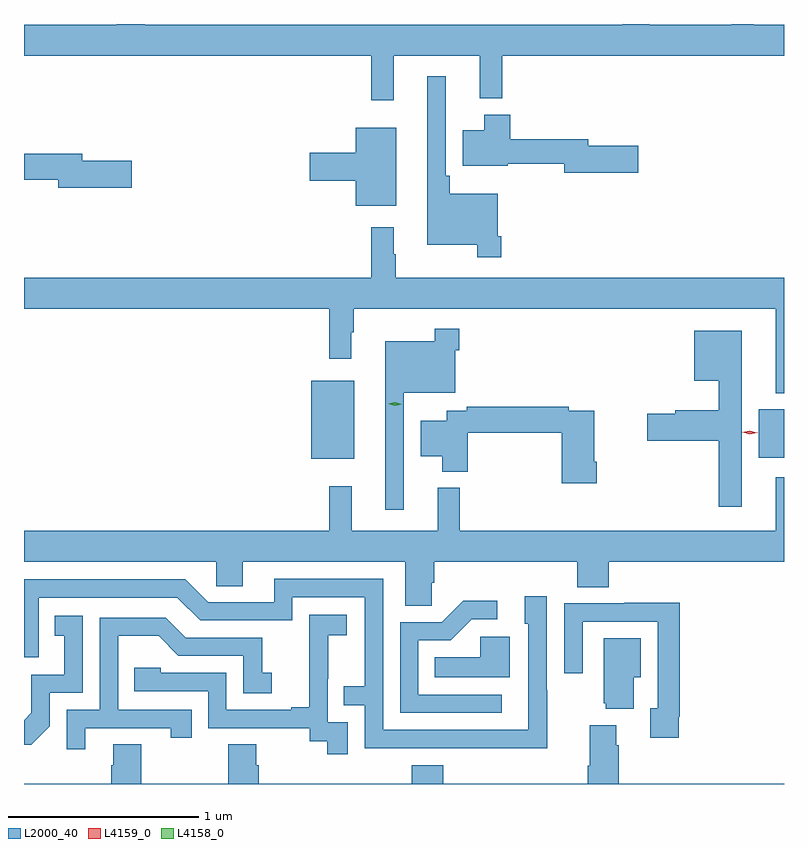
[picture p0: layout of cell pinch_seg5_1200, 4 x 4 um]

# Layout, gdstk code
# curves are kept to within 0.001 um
import gdstk
lib = gdstk.Library(unit=1e-6, precision=1e-09)
def R(c, l, rs):  # rectangles x0, y0, x1, y1
    for r in rs: c.add(gdstk.rectangle(r[:2], r[2:], *l))
def P(c, l, *ps):  # polygons
    for p in ps: c.add(gdstk.Polygon(p, *l))
L2000_40 = (2000, 40)
L4158_0 = (4158, 0)
L4159_0 = (4159, 0)

pinch_seg5_1200 = lib.new_cell('pinch_seg5_1200')
R(pinch_seg5_1200, L2000_40, [(481.028,883.943,481.255,884.353), (483.383,883.949,483.517,884.203)])
P(pinch_seg5_1200, L2000_40, [(481.463,886.064),(481.916,886.064),(481.916,885.839),(482.033,885.839),(482.033,886.064),(483.517,886.064),(483.517,886.228),(483.359,886.228),(483.359,886.231),(483.243,886.231),(483.243,886.228),(482.809,886.228),(482.809,886.231),(482.669,886.231),(482.669,886.228),(480.153,886.228),(480.153,886.231),(480.005,886.231),(480.005,886.228),(479.517,886.228),(479.517,886.064),(481.345,886.064),(481.345,885.831),(481.463,885.831)],
  [(482.03,885.115),(482.01,885.115),(482.01,885.337),(481.757,885.337),(481.757,885.433),(481.737,885.433),(481.737,885.955),(481.64,885.955),(481.64,885.068),(481.902,885.068),(481.902,885.003),(482.03,885.003)],
  [(482.749,885.591),(482.488,885.591),(482.488,885.625),(482.075,885.625),(482.075,885.754),(481.94,885.754),(481.94,885.673),(481.826,885.673),(481.826,885.485),(482.062,885.485),(482.062,885.496),(482.36,885.496),(482.36,885.449),(482.749,885.449)],
  [(481.477,885.685),(481.262,885.685),(481.262,885.554),(481.02,885.554),(481.02,885.407),(481.262,885.407),(481.262,885.275),(481.477,885.275)],
  [(480.085,885.512),(479.824,885.512),(479.824,885.548),(479.517,885.548),(479.517,885.412),(479.696,885.412),(479.696,885.37),(480.085,885.37)],
  [(483.517,884.896),(481.474,884.896),(481.474,885.02),(481.462,885.02),(481.462,885.16),(481.345,885.16),(481.345,884.896),(479.517,884.896),(479.517,884.732),(481.123,884.732),(481.123,884.469),(481.24,884.469),(481.24,884.609),(481.252,884.609),(481.252,884.732),(483.473,884.732),(483.473,884.288),(483.517,884.288)],
  [(481.515,884.291),(481.788,884.291),(481.788,884.513),(481.808,884.513),(481.808,884.626),(481.68,884.626),(481.68,884.56),(481.418,884.56),(481.418,883.674),(481.515,883.674)],
  [(483.295,884.617),(483.044,884.617),(483.044,884.354),(483.174,884.354),(483.174,884.197),(482.945,884.197),(482.945,884.18),(482.796,884.18),(482.796,884.038),(483.174,884.038),(483.174,883.689),(483.295,883.689)],
  [(482.531,883.927),(482.518,883.927),(482.518,884.196),(482.384,884.196),(482.384,884.216),(481.846,884.216),(481.846,884.196),(481.743,884.196),(481.743,884.143),(481.604,884.143),(481.604,883.955),(481.718,883.955),(481.718,883.874),(481.853,883.874),(481.853,884.08),(482.348,884.08),(482.348,883.815),(482.531,883.815)],
  [(481.662,883.291),(481.676,883.291),(481.676,883.4),(482.429,883.4),(482.429,883.267),(482.594,883.267),(482.594,883.4),(483.517,883.4),(483.517,883.846),(483.473,883.846),(483.473,883.564),(481.811,883.564),(481.811,883.789),(481.694,883.789),(481.694,883.564),(481.241,883.564),(481.241,883.798),(481.123,883.798),(481.123,883.564),(479.517,883.564),(479.517,883.4),(480.528,883.4),(480.528,883.273),(480.667,883.273),(480.667,883.4),(481.523,883.4),(481.523,883.168),(481.662,883.168)],
  [(482.271,882.725),(482.268,882.725),(482.268,883.219),(482.153,883.219),(482.153,883.074),(482.172,883.074),(482.171,882.516),(481.407,882.516),(481.407,883.311),(480.833,883.311),(480.833,883.188),(480.486,883.188),(480.366,883.308),(479.517,883.308),(479.517,882.897),(479.595,882.897),(479.595,883.212),(480.324,883.212),(480.444,883.092),(480.93,883.092),(480.93,883.215),(481.311,883.215),(481.311,882.746),(481.201,882.746),(481.201,882.645),(481.311,882.645),(481.311,882.42),(482.271,882.419)],
  [(482.032,882.702),(481.593,882.702),(481.593,882.987),(481.762,882.987),(481.873,883.098),(482.008,883.098),(482.008,883.196),(481.829,883.196),(481.716,883.083),(481.497,883.083),(481.497,882.606),(482.032,882.606)],
  [(482.962,882.586),(482.969,882.586),(482.969,883.184),(482.677,883.184),(482.677,883.182),(482.361,883.182),(482.361,882.813),(482.457,882.813),(482.457,883.086),(482.853,883.086),(482.853,882.63),(482.813,882.63),(482.813,882.474),(482.962,882.474)],
  [(481.221,882.555),(481.116,882.555),(481.116,882.785),(481.118,882.785),(481.118,883.013),(481.216,883.013),(481.216,883.123),(481.018,883.123),(481.018,882.917),(481.019,882.917),(481.019,882.634),(480.923,882.634),(480.923,882.621),(480.582,882.621),(480.582,882.816),(480.237,882.816),(480.237,882.843),(480.097,882.843),(480.097,882.72),(480.486,882.72),(480.486,882.525),(481.02,882.525),(481.02,882.457),(481.113,882.457),(481.113,882.387),(481.221,882.387)],
  [(479.652,882.534),(479.652,882.711),(479.826,882.711),(479.826,883.117),(479.68,883.117),(479.68,883.011),(479.729,883.011),(479.729,882.807),(479.556,882.807),(479.556,882.606),(479.517,882.567),(479.517,882.437),(479.554,882.437)],
  [(479.839,882.525),(480.29,882.525),(480.29,882.474),(480.401,882.474),(480.401,882.621),(480.012,882.621),(480.012,883.01),(480.226,883.01),(480.33,882.906),(480.672,882.906),(480.672,882.708),(480.82,882.708),(480.82,882.817),(480.771,882.817),(480.771,883.002),(480.367,883.002),(480.262,883.107),(479.916,883.107),(479.916,882.621),(479.742,882.621),(479.742,882.414),(479.839,882.414)],
  [(482.074,883.006),(481.917,883.006),(481.917,882.898),(481.678,882.898),(481.678,882.794),(482.074,882.794)],
  [(482.725,882.794),(482.764,882.794),(482.764,882.997),(482.567,882.997),(482.567,882.657),(482.579,882.657),(482.579,882.626),(482.725,882.626)],
  [(483.517,882.232),(482.648,882.232),(482.648,882.434),(482.635,882.434),(482.635,882.541),(482.495,882.541),(482.495,882.328),(482.483,882.328),(482.483,882.232),(481.724,882.232),(481.724,882.331),(481.559,882.331),(481.559,882.232),(480.752,882.232),(480.752,882.33),(480.739,882.33),(480.739,882.44),(480.592,882.44),(480.592,882.232),(480.135,882.232),(480.135,882.44),(479.987,882.44),(479.987,882.33),(479.975,882.33),(479.975,882.232),(479.517,882.232),(479.517,882.231),(483.517,882.231)])
P(pinch_seg5_1200, L4158_0, [(481.469,884.221),(481.433,884.232),(481.433,884.232),(481.433,884.233),(481.47,884.241),(481.505,884.23),(481.505,884.229),(481.505,884.229)])
P(pinch_seg5_1200, L4159_0, [(483.338,884.071),(483.298,884.082),(483.298,884.082),(483.298,884.082),(483.338,884.091),(483.377,884.081),(483.378,884.081),(483.377,884.081)])

lib.write_gds('pinch_seg5_1200.gds')
